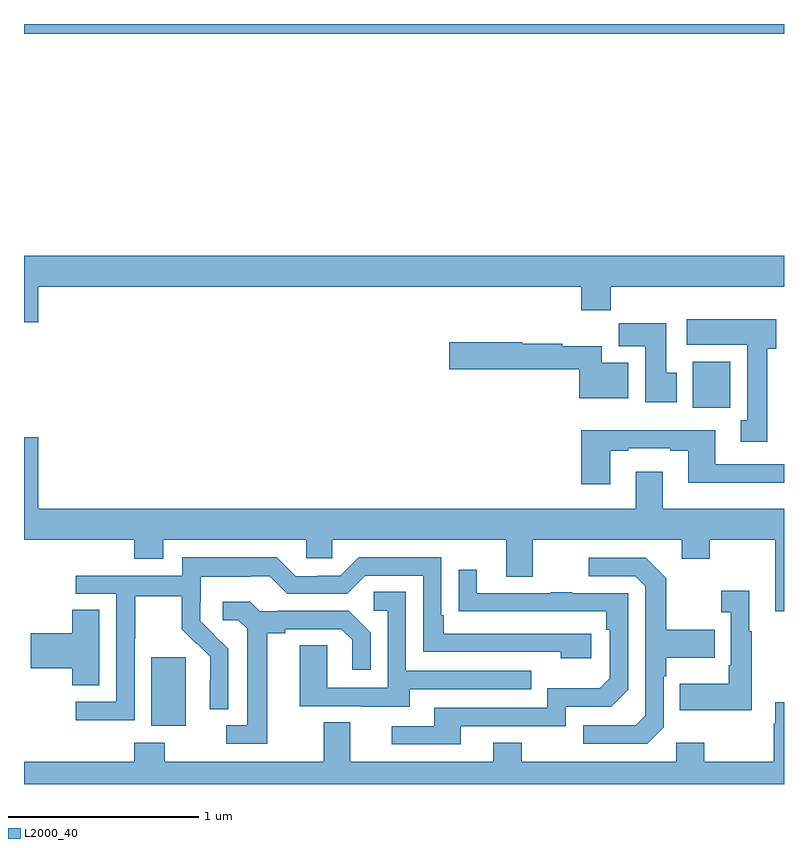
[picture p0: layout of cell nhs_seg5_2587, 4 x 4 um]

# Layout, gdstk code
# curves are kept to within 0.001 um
import gdstk
lib = gdstk.Library(unit=1e-6, precision=1e-09)
def R(c, l, rs):  # rectangles x0, y0, x1, y1
    for r in rs: c.add(gdstk.rectangle(r[:2], r[2:], *l))
def P(c, l, *ps):  # polygons
    for p in ps: c.add(gdstk.Polygon(p, *l))
L2000_40 = (2000, 40)

nhs_seg5_2587 = lib.new_cell('nhs_seg5_2587')
R(nhs_seg5_2587, L2000_40, [(261.671,865.106,261.85,865.467), (264.521,866.78,264.718,867.022), (261,868.748,265,868.799)])
P(nhs_seg5_2587, L2000_40, [(261.076,867.416),(263.933,867.416),(263.933,867.292),(264.089,867.292),(264.089,867.416),(265,867.416),(265,867.58),(261,867.58),(261,867.228),(261.076,867.228)],
  [(264.913,867.09),(264.958,867.09),(264.958,867.244),(264.489,867.244),(264.489,867.11),(264.806,867.11),(264.806,866.714),(264.773,866.714),(264.773,866.601),(264.913,866.601)],
  [(264.436,866.964),(264.379,866.964),(264.379,867.223),(264.13,867.223),(264.13,867.104),(264.269,867.104),(264.269,866.808),(264.436,866.808)],
  [(264.181,867.016),(264.04,867.016),(264.04,867.104),(263.834,867.104),(263.834,867.115),(263.622,867.115),(263.622,867.123),(263.238,867.123),(263.238,866.981),(263.923,866.981),(263.923,866.828),(264.181,866.828)],
  [(264.085,866.553),(264.181,866.553),(264.181,866.565),(264.401,866.565),(264.401,866.553),(264.497,866.553),(264.497,866.384),(265,866.384),(265,866.481),(264.637,866.481),(264.637,866.662),(263.933,866.662),(263.933,866.376),(264.085,866.376)],
  [(265,866.248),(264.361,866.248),(264.361,866.443),(264.221,866.443),(264.221,866.248),(261.076,866.248),(261.076,866.623),(261,866.623),(261,866.084),(261.581,866.084),(261.581,865.985),(261.733,865.985),(261.733,866.084),(262.485,866.084),(262.485,865.986),(262.623,865.986),(262.623,866.084),(263.537,866.084),(263.537,865.89),(263.677,865.89),(263.677,866.084),(264.461,866.084),(264.461,865.985),(264.609,865.985),(264.609,866.084),(264.953,866.084),(264.953,865.707),(265,865.707)],
  [(261.582,865.564),(261.585,865.564),(261.585,865.788),(261.829,865.788),(261.829,865.613),(261.906,865.536),(261.909,865.539),(261.98,865.469),(261.98,865.346),(261.978,865.346),(261.978,865.192),(262.074,865.192),(262.074,865.51),(261.928,865.658),(261.928,865.755),(261.93,865.755),(261.93,865.889),(262.193,865.889),(262.193,865.893),(262.293,865.893),(262.386,865.8),(262.701,865.8),(262.797,865.896),(263.1,865.896),(263.1,865.494),(263.825,865.494),(263.825,865.46),(263.986,865.46),(263.986,865.59),(263.209,865.59),(263.209,865.687),(263.196,865.687),(263.196,865.992),(262.761,865.992),(262.665,865.896),(262.547,865.896),(262.547,865.893),(262.431,865.893),(262.331,865.993),(261.834,865.993),(261.834,865.896),(261.273,865.896),(261.273,865.8),(261.486,865.8),(261.486,865.233),(261.273,865.233),(261.273,865.135),(261.582,865.135)],
  [(264.366,865.098),(264.366,865.367),(264.379,865.367),(264.379,865.463),(264.635,865.463),(264.635,865.611),(264.379,865.611),(264.379,865.883),(264.273,865.989),(263.973,865.989),(263.973,865.893),(264.216,865.893),(264.27,865.839),(264.27,865.158),(264.219,865.107),(263.943,865.107),(263.943,865.011),(264.279,865.011)],
  [(263.299,865.104),(263.85,865.104),(263.85,865.206),(264.09,865.206),(264.18,865.296),(264.18,865.803),(263.885,865.803),(263.885,865.808),(263.773,865.808),(263.773,865.803),(263.383,865.803),(263.383,865.927),(263.287,865.927),(263.287,865.708),(264.064,865.707),(264.064,865.61),(264.084,865.61),(264.084,865.356),(264.031,865.303),(263.754,865.303),(263.754,865.2),(263.159,865.2),(263.159,865.104),(262.935,865.104),(262.935,865.008),(263.299,865.008)],
  [(264.829,865.603),(264.817,865.603),(264.817,865.816),(264.669,865.816),(264.669,865.703),(264.72,865.703),(264.72,865.423),(264.708,865.423),(264.708,865.327),(264.451,865.327),(264.451,865.187),(264.829,865.187)],
  [(263.029,865.299),(263.669,865.299),(263.669,865.395),(263.01,865.395),(263.01,865.811),(262.842,865.811),(262.842,865.71),(262.914,865.71),(262.914,865.305),(262.596,865.305),(262.596,865.529),(262.451,865.529),(262.451,865.209),(262.775,865.209),(262.775,865.205),(263.029,865.205)],
  [(262.279,865.592),(262.375,865.592),(262.375,865.614),(262.67,865.614),(262.727,865.557),(262.727,865.401),(262.824,865.401),(262.824,865.594),(262.708,865.71),(262.336,865.71),(262.336,865.707),(262.242,865.707),(262.19,865.759),(262.047,865.759),(262.047,865.662),(262.128,865.662),(262.175,865.615),(262.175,865.107),(262.065,865.107),(262.065,865.011),(262.279,865.011)],
  [(261.397,865.715),(261.254,865.715),(261.254,865.592),(261.036,865.592),(261.036,865.409),(261.254,865.409),(261.254,865.318),(261.397,865.318)],
  [(265,865.228),(264.953,865.228),(264.953,865.115),(264.946,865.115),(264.946,864.916),(264.579,864.916),(264.579,865.015),(264.432,865.015),(264.432,864.916),(263.619,864.916),(263.619,865.015),(263.471,865.015),(263.471,864.916),(262.717,864.916),(262.717,865.124),(262.577,865.124),(262.577,864.916),(261.741,864.916),(261.741,865.015),(261.581,865.015),(261.581,864.916),(261,864.916),(261,864.799),(265,864.799)])

lib.write_gds('nhs_seg5_2587.gds')
